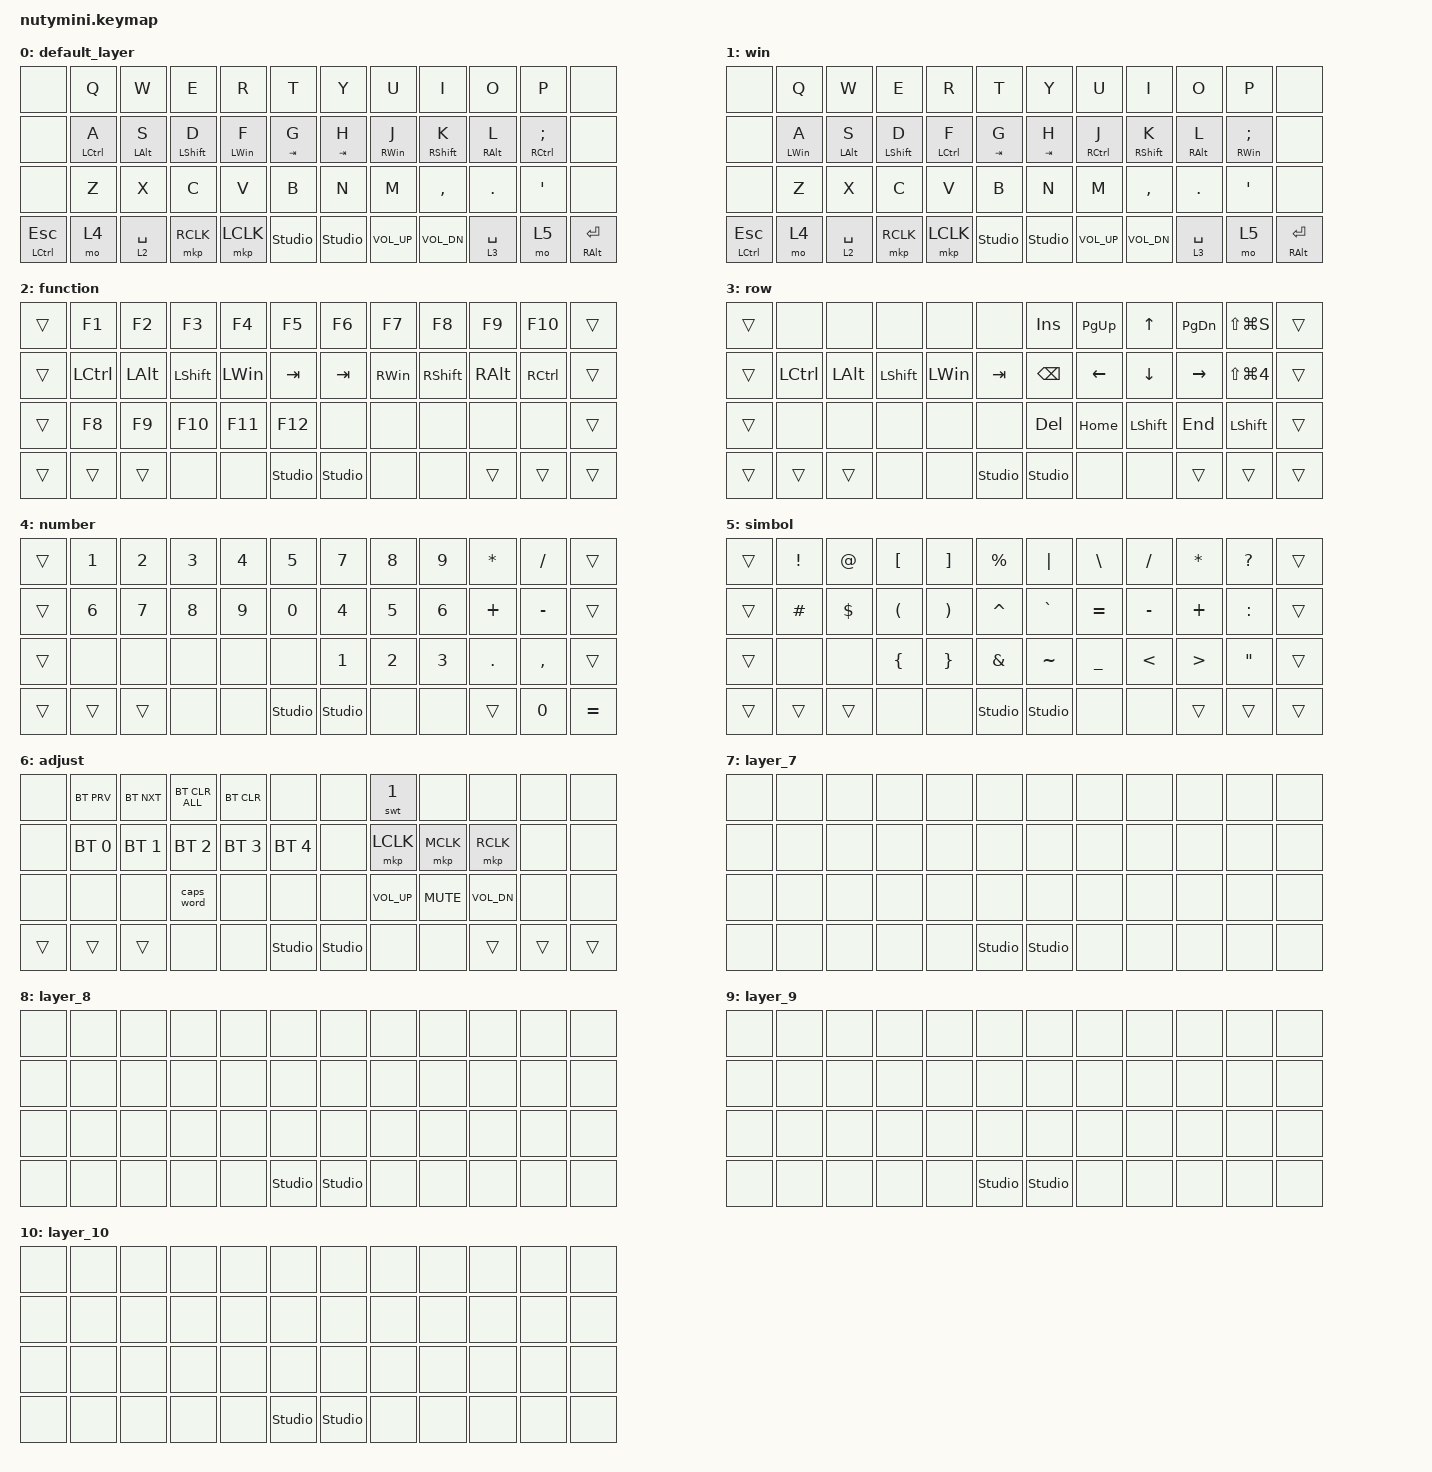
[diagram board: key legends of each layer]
/*
 * Copyright (c) 2020 The ZMK Contributors
 *
 * SPDX-License-Identifier: MIT
 * Modified by Nuty  L.A.B.S.
 */

#include <behaviors.dtsi>
#include <dt-bindings/zmk/bt.h>
#include <dt-bindings/zmk/keys.h>
#include <dt-bindings/zmk/pointing.h>

/ {
    behaviors {
        hm: homerow_mods {
            compatible = "zmk,behavior-hold-tap";
            #binding-cells = <2>;
            tapping-term-ms = <200>;
            flavor = "tap-preferred";
            require-prior-idle-ms = <200>;
            bindings = <&kp>, <&kp>;
        };

        swt: switch {
            compatible = "zmk,behavior-toggle-layer";
            #binding-cells = <1>;
            display-name = "SWITCH";
            toggle-mode = "on";
        };

        tap_f1: tap_f1 {
            compatible = "zmk,behavior-tap-dance";
            label = "TAP_F1";
            #binding-cells = <0>;
            bindings = <&kp F1>, <&kp LA(F1)>, <&kp LS(F1)>, <&kp LC(F1)>;
        };

        tap_f2: tap_f2 {
            compatible = "zmk,behavior-tap-dance";
            label = "TAP_F2";
            #binding-cells = <0>;
            bindings = <&kp F2>, <&kp LA(F2)>, <&kp LS(F2)>, <&kp LC(F2)>;
        };

        tap_f3: tap_f3 {
            compatible = "zmk,behavior-tap-dance";
            label = "TAP_F3";
            #binding-cells = <0>;
            bindings = <&kp F3>, <&kp LA(F3)>, <&kp LS(F3)>, <&kp LC(F3)>;
        };

        tap_f4: tap_f4 {
            compatible = "zmk,behavior-tap-dance";
            label = "TAP_F4";
            #binding-cells = <0>;
            bindings = <&kp F4>, <&kp LA(F4)>, <&kp LS(F4)>, <&kp LC(F4)>;
        };

        tap_f5: tap_f5 {
            compatible = "zmk,behavior-tap-dance";
            label = "TAP_F5";
            #binding-cells = <0>;
            bindings = <&kp F5>, <&kp LA(F5)>, <&kp LS(F5)>, <&kp LC(F5)>;
        };

        tap_f6: tap_f6 {
            compatible = "zmk,behavior-tap-dance";
            label = "TAP_F6";
            #binding-cells = <0>;
            bindings = <&kp F6>, <&kp LA(F6)>, <&kp LS(F6)>, <&kp LC(F6)>;
        };

        tap_f7: tap_f7 {
            compatible = "zmk,behavior-tap-dance";
            label = "TAP_F7";
            #binding-cells = <0>;
            bindings = <&kp F7>, <&kp LA(F7)>, <&kp LS(F7)>, <&kp LC(F7)>;
        };

        tap_f8: tap_f8 {
            compatible = "zmk,behavior-tap-dance";
            label = "TAP_F8";
            #binding-cells = <0>;
            bindings = <&kp F8>, <&kp LA(F8)>, <&kp LS(F8)>, <&kp LC(F8)>;
        };

        tap_f9: tap_f9 {
            compatible = "zmk,behavior-tap-dance";
            label = "TAP_F9";
            #binding-cells = <0>;
            bindings = <&kp F9>, <&kp LA(F9)>, <&kp LS(F9)>, <&kp LC(F9)>;
        };

        tap_f10: tap_f10 {
            compatible = "zmk,behavior-tap-dance";
            label = "TAP_F10";
            #binding-cells = <0>;
            bindings = <&kp F10>, <&kp LA(F10)>, <&kp LS(F10)>, <&kp LC(F10)>;
        };

        tap_f11: tap_f11 {
            compatible = "zmk,behavior-tap-dance";
            label = "TAP_F11";
            #binding-cells = <0>;
            bindings = <&kp F11>, <&kp LA(F11)>, <&kp LS(F11)>, <&kp LC(F11)>;
        };

        tap_f12: tap_f12 {
            compatible = "zmk,behavior-tap-dance";
            label = "TAP_F12";
            #binding-cells = <0>;
            bindings = <&kp F12>, <&kp LA(F12)>, <&kp LS(F12)>, <&kp LC(F12)>;
        };
    };

    combos {
        compatible = "zmk,combos";

        bluetooth {
            bindings = <&mo 6>;
            key-positions = <38 45>;
        };

        middle_click {
            bindings = <&mkp MCLK>;
            key-positions = <40 39>;
        };

        mute {
            bindings = <&kp C_MUTE>;
            key-positions = <44 43>;
        };
    };

    keymap {
        compatible = "zmk,keymap";

        default_layer {
            bindings = <
&none          &kp Q        &kp W        &kp E        &kp R       &kp T           &kp Y           &kp U         &kp I            &kp O         &kp P          &none
&none          &hm LCTRL A  &hm LALT S   &hm LSHFT D  &hm LWIN F  &hm TAB G       &hm TAB H       &hm RWIN J    &hm RSHFT K      &hm RALT L    &hm RCTRL SEMI &none
&none          &kp Z        &kp X        &kp C        &kp V       &kp B           &kp N           &kp M         &kp COMMA        &kp DOT       &kp SQT        &none
&mt LCTRL ESC  &mo 4        &lt 2 SPACE  &mkp RCLK    &mkp LCLK   &studio_unlock  &studio_unlock  &kp C_VOL_UP  &kp C_VOL_DN     &lt 3 SPACE   &mo 5          &mt RALT ENTER
            >;
        };

        win {
            bindings = <
&none          &kp Q        &kp W        &kp E        &kp R       &kp T           &kp Y           &kp U         &kp I            &kp O         &kp P          &none
&none          &hm LWIN A   &hm LALT S   &hm LSHFT D  &hm LCTRL F  &hm TAB G       &hm TAB H       &hm RCTRL J   &hm RSHFT K      &hm RALT L    &hm RWIN SEMI  &none
&none          &kp Z        &kp X        &kp C        &kp V       &kp B           &kp N           &kp M         &kp COMMA        &kp DOT       &kp SQT        &none
&mt LCTRL ESC  &mo 4        &lt 2 SPACE  &mkp RCLK    &mkp LCLK   &studio_unlock  &studio_unlock  &kp C_VOL_UP  &kp C_VOL_DN     &lt 3 SPACE   &mo 5          &mt RALT ENTER
            >;
        };

        function {
            bindings = <
&trans  &kp F1     &kp F2    &kp F3      &kp F4    &kp F5          &kp F6          &kp F7    &kp F8      &kp F9    &kp F10    &trans
&trans  &kp LCTRL  &kp LALT  &kp LSHIFT  &kp LWIN  &kp TAB         &kp TAB         &kp RWIN  &kp RSHIFT  &kp RALT  &kp RCTRL  &trans
&trans  &kp F8     &kp F9    &kp F10     &kp F11   &kp F12         &none           &none     &none       &none     &none      &trans
&trans  &trans     &trans    &none       &none     &studio_unlock  &studio_unlock  &none     &none       &trans    &trans     &trans
            >;
        };

        row {
            bindings = <
&trans  &none      &none     &none      &none     &none           &kp INS         &kp PG_UP  &kp UP     &kp PG_DN  &kp LS(LG(S))   &trans
&trans  &kp LCTRL  &kp LALT  &kp LSHFT  &kp LWIN  &kp TAB         &kp BSPC        &kp LEFT   &kp DOWN   &kp RIGHT  &kp LS(LG(N4))  &trans
&trans  &none      &none     &none      &none      &none          &kp DEL         &kp HOME   &kp LSHFT  &kp END    &kp LSHFT       &trans
&trans  &trans     &trans    &none      &none     &studio_unlock  &studio_unlock  &none      &none      &trans     &trans          &trans
            >;
        };

        number {
            bindings = <
&trans  &kp N1  &kp N2  &kp N3  &kp N4  &kp N5          &kp N7          &kp N8  &kp N9  &kp ASTRK  &kp SLASH  &trans
&trans  &kp N6  &kp N7  &kp N8  &kp N9  &kp N0          &kp N4          &kp N5  &kp N6  &kp PLUS   &kp MINUS  &trans
&trans  &none   &none   &none   &none   &none           &kp N1          &kp N2  &kp N3  &kp DOT    &kp COMMA  &trans
&trans  &trans  &trans  &none   &none   &studio_unlock  &studio_unlock  &none   &none   &trans     &kp N0     &kp EQUAL
            >;
        };

        simbol {
            bindings = <
&trans  &kp EXCL  &kp AT    &kp LBKT  &kp RBKT  &kp PERCENT     &kp PIPE        &kp BSLH   &kp SLASH  &kp ASTRK  &kp QMARK  &trans
&trans  &kp HASH  &kp DLLR  &kp LPAR  &kp RPAR  &kp CARET       &kp GRAVE       &kp EQUAL  &kp MINUS  &kp PLUS   &kp COLON  &trans
&trans  &none     &none     &kp LBRC  &kp RBRC  &kp AMPS        &kp TILDE       &kp UNDER  &kp LT     &kp GT     &kp DQT    &trans
&trans  &trans    &trans    &none     &none     &studio_unlock  &studio_unlock  &none      &none      &trans     &trans     &trans
            >;
        };

        adjust {
            bindings = <
&none   &bt BT_PRV    &bt BT_NXT    &bt BT_CLR_ALL  &bt BT_CLR    &none           &none           &swt 1        &none       &none         &none   &none
&none   &bt BT_SEL 0  &bt BT_SEL 1  &bt BT_SEL 2    &bt BT_SEL 3  &bt BT_SEL 4    &none           &mkp LCLK     &mkp MCLK   &mkp RCLK     &none   &none
&none   &none         &none         &caps_word      &none         &none           &none           &kp C_VOL_UP  &kp K_MUTE  &kp C_VOL_DN  &none   &none
&trans  &trans        &trans        &none           &none         &studio_unlock  &studio_unlock  &none         &none       &trans        &trans  &trans
            >;
        };

        layer_7 {
            bindings = <
&none  &none  &none  &none  &none  &none           &none           &none  &none  &none  &none  &none
&none  &none  &none  &none  &none  &none           &none           &none  &none  &none  &none  &none
&none  &none  &none  &none  &none  &none           &none           &none  &none  &none  &none  &none
&none  &none  &none  &none  &none  &studio_unlock  &studio_unlock  &none  &none  &none  &none  &none
            >;
        };

        layer_8 {
            bindings = <
&none  &none  &none  &none  &none  &none           &none           &none  &none  &none  &none  &none
&none  &none  &none  &none  &none  &none           &none           &none  &none  &none  &none  &none
&none  &none  &none  &none  &none  &none           &none           &none  &none  &none  &none  &none
&none  &none  &none  &none  &none  &studio_unlock  &studio_unlock  &none  &none  &none  &none  &none
            >;
        };

        layer_9 {
            bindings = <
&none  &none  &none  &none  &none  &none           &none           &none  &none  &none  &none  &none
&none  &none  &none  &none  &none  &none           &none           &none  &none  &none  &none  &none
&none  &none  &none  &none  &none  &none           &none           &none  &none  &none  &none  &none
&none  &none  &none  &none  &none  &studio_unlock  &studio_unlock  &none  &none  &none  &none  &none
            >;
        };

        layer_10 {
            bindings = <
&none  &none  &none  &none  &none  &none           &none           &none  &none  &none  &none  &none
&none  &none  &none  &none  &none  &none           &none           &none  &none  &none  &none  &none
&none  &none  &none  &none  &none  &none           &none           &none  &none  &none  &none  &none
&none  &none  &none  &none  &none  &studio_unlock  &studio_unlock  &none  &none  &none  &none  &none
            >;
        };
    };
};
